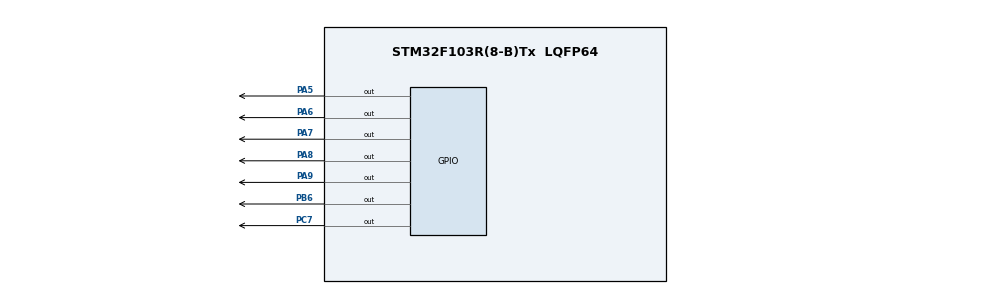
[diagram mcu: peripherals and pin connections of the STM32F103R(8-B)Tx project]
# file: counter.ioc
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Mcu.Family=STM32F1
Mcu.Name=STM32F103R(8-B)Tx
Mcu.Package=LQFP64
NVIC.PriorityGroup=NVIC_PRIORITYGROUP_4
PA5.Signal=GPIO_Output
PA6.Signal=GPIO_Output
PA7.Signal=GPIO_Output
PA8.Signal=GPIO_Output
PA9.Signal=GPIO_Output
PB6.Signal=GPIO_Output
PC7.Signal=GPIO_Output
ProjectManager.HeapSize=0x200
ProjectManager.StackSize=0x400
ProjectManager.TargetToolchain=STM32CubeIDE
RCC.APB1Freq_Value=8000000
RCC.APB2Freq_Value=8000000
board=custom

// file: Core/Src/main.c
/* USER CODE BEGIN Header */
/**
  ******************************************************************************
  * @file           : main.c
  * @brief          : Main program body
  ******************************************************************************
  * @attention
  *
  * Copyright (c) 2025 STMicroelectronics.
  * All rights reserved.
  *
  * This software is licensed under terms that can be found in the LICENSE file
  * in the root directory of this software component.
  * If no LICENSE file comes with this software, it is provided AS-IS.
  *
  ******************************************************************************
  */
/* USER CODE END Header */
#include "main.h"

void SystemClock_Config(void);
static void MX_GPIO_Init(void);

int main(void)
{

  /* MCU Configuration--------------------------------------------------------*/

  /* Reset of all peripherals, Initializes the Flash interface and the Systick. */
  HAL_Init();

  /* Configure the system clock */
  SystemClock_Config();

  /* Initialize all configured peripherals */
  MX_GPIO_Init();

  /* Infinite loop */
  while (1)
  {

    /* USER CODE BEGIN 3 */
	  HAL_GPIO_WritePin(GPIOA,GPIO_PIN_5,1); //----13
	  HAL_GPIO_WritePin(GPIOA,GPIO_PIN_6,1); //----12
	  HAL_GPIO_WritePin(GPIOA,GPIO_PIN_7,1); //----11
	  HAL_GPIO_WritePin(GPIOB,GPIO_PIN_6,1); //----10
	  HAL_GPIO_WritePin(GPIOC,GPIO_PIN_7,1);//------9
	  HAL_GPIO_WritePin(GPIOA,GPIO_PIN_9,1); //-----8
	  HAL_GPIO_WritePin(GPIOA,GPIO_PIN_8,0); //-----7
	  HAL_Delay(200);
	  //-------------1------------------------------
	  HAL_GPIO_WritePin(GPIOA,GPIO_PIN_5,0); //----13
	  HAL_GPIO_WritePin(GPIOA,GPIO_PIN_6,0); //----12
	  HAL_GPIO_WritePin(GPIOA,GPIO_PIN_7,1); //----11
	  HAL_GPIO_WritePin(GPIOB,GPIO_PIN_6,1); //----10
	  HAL_GPIO_WritePin(GPIOC,GPIO_PIN_7,0); //-----9
	  HAL_GPIO_WritePin(GPIOA,GPIO_PIN_9,0); //-----8
	  HAL_GPIO_WritePin(GPIOA,GPIO_PIN_8,0); //-----7
	  HAL_Delay(200);
	  //--------------2-----------------------------
	  HAL_GPIO_WritePin(GPIOA,GPIO_PIN_5,0); //----13
	  HAL_GPIO_WritePin(GPIOA,GPIO_PIN_6,1); //----12
	  HAL_GPIO_WritePin(GPIOA,GPIO_PIN_7,1); //----11
	  HAL_GPIO_WritePin(GPIOB,GPIO_PIN_6,0); //----10
	  HAL_GPIO_WritePin(GPIOC,GPIO_PIN_7,1); //-----9
	  HAL_GPIO_WritePin(GPIOA,GPIO_PIN_9,1); //-----8
	  HAL_GPIO_WritePin(GPIOA,GPIO_PIN_8,1); //-----7
	  HAL_Delay(200);
	  //---------------3----------------------------
	  HAL_GPIO_WritePin(GPIOA,GPIO_PIN_5,0); //----13
	  HAL_GPIO_WritePin(GPIOA,GPIO_PIN_6,1); //----12
	  HAL_GPIO_WritePin(GPIOA,GPIO_PIN_7,1); //----11
	  HAL_GPIO_WritePin(GPIOB,GPIO_PIN_6,1); //----10
	  HAL_GPIO_WritePin(GPIOC,GPIO_PIN_7,1); //-----9
	  HAL_GPIO_WritePin(GPIOA,GPIO_PIN_9,0); //-----8
	  HAL_GPIO_WritePin(GPIOA,GPIO_PIN_8,1); //-----7
	  HAL_Delay(200);
	  //---------------4----------------------------
	  HAL_GPIO_WritePin(GPIOA,GPIO_PIN_5,1); //----13
	  HAL_GPIO_WritePin(GPIOA,GPIO_PIN_6,0); //----12
	  HAL_GPIO_WritePin(GPIOA,GPIO_PIN_7,1); //----11
	  HAL_GPIO_WritePin(GPIOB,GPIO_PIN_6,1); //----10
	  HAL_GPIO_WritePin(GPIOC,GPIO_PIN_7,0); //-----9
	  HAL_GPIO_WritePin(GPIOA,GPIO_PIN_9,0); //-----8
	  HAL_GPIO_WritePin(GPIOA,GPIO_PIN_8,1); //-----7
	  HAL_Delay(200);
	  //---------------5----------------------------
	  HAL_GPIO_WritePin(GPIOA,GPIO_PIN_5,1); //----13
	  HAL_GPIO_WritePin(GPIOA,GPIO_PIN_6,1); //----12
	  HAL_GPIO_WritePin(GPIOA,GPIO_PIN_7,0); //----11
	  HAL_GPIO_WritePin(GPIOB,GPIO_PIN_6,1); //----10
	  HAL_GPIO_WritePin(GPIOC,GPIO_PIN_7,1); //-----9
	  HAL_GPIO_WritePin(GPIOA,GPIO_PIN_9,0); //-----8
	  HAL_GPIO_WritePin(GPIOA,GPIO_PIN_8,1); //-----7
	  HAL_Delay(200);
	  //---------------6----------------------------
	  HAL_GPIO_WritePin(GPIOA,GPIO_PIN_5,1); //----13
	  HAL_GPIO_WritePin(GPIOA,GPIO_PIN_6,1); //----12
	  HAL_GPIO_WritePin(GPIOA,GPIO_PIN_7,0); //----11
	  HAL_GPIO_WritePin(GPIOB,GPIO_PIN_6,1); //----10
	  HAL_GPIO_WritePin(GPIOC,GPIO_PIN_7,1); //-----9
	  HAL_GPIO_WritePin(GPIOA,GPIO_PIN_9,1); //-----8
	  HAL_GPIO_WritePin(GPIOA,GPIO_PIN_8,1); //-----7
	  HAL_Delay(200);
	  //---------------7----------------------------
	  HAL_GPIO_WritePin(GPIOA,GPIO_PIN_5,0); //----13
	  HAL_GPIO_WritePin(GPIOA,GPIO_PIN_6,1); //----12
	  HAL_GPIO_WritePin(GPIOA,GPIO_PIN_7,1); //----11
	  HAL_GPIO_WritePin(GPIOB,GPIO_PIN_6,1); //----10
	  HAL_GPIO_WritePin(GPIOC,GPIO_PIN_7,0); //-----9
	  HAL_GPIO_WritePin(GPIOA,GPIO_PIN_9,0); //-----8
	  HAL_GPIO_WritePin(GPIOA,GPIO_PIN_8,0); //-----7
	  HAL_Delay(200);
	  //---------------8----------------------------
	  HAL_GPIO_WritePin(GPIOA,GPIO_PIN_5,1); //----13
	  HAL_GPIO_WritePin(GPIOA,GPIO_PIN_6,1); //----12
	  HAL_GPIO_WritePin(GPIOA,GPIO_PIN_7,1); //----11
	  HAL_GPIO_WritePin(GPIOB,GPIO_PIN_6,1); //----10
	  HAL_GPIO_WritePin(GPIOC,GPIO_PIN_7,1); //-----9
	  HAL_GPIO_WritePin(GPIOA,GPIO_PIN_9,1); //-----8
	  HAL_GPIO_WritePin(GPIOA,GPIO_PIN_8,1); //-----7
	  HAL_Delay(200);
	  //---------------9----------------------------
	  HAL_GPIO_WritePin(GPIOA,GPIO_PIN_5,1); //----13
	  HAL_GPIO_WritePin(GPIOA,GPIO_PIN_6,1); //----12
	  HAL_GPIO_WritePin(GPIOA,GPIO_PIN_7,1); //----11
	  HAL_GPIO_WritePin(GPIOB,GPIO_PIN_6,1); //----10
	  HAL_GPIO_WritePin(GPIOC,GPIO_PIN_7,1); //-----9
	  HAL_GPIO_WritePin(GPIOA,GPIO_PIN_9,0); //-----8
	  HAL_GPIO_WritePin(GPIOA,GPIO_PIN_8,1); //-----7
	  HAL_Delay(200);
	  //---------------A----------------------------
	  HAL_GPIO_WritePin(GPIOA,GPIO_PIN_5,1); //----13
	  HAL_GPIO_WritePin(GPIOA,GPIO_PIN_6,1); //----12
	  HAL_GPIO_WritePin(GPIOA,GPIO_PIN_7,1); //----11
	  HAL_GPIO_WritePin(GPIOB,GPIO_PIN_6,1); //----10
	  HAL_GPIO_WritePin(GPIOC,GPIO_PIN_7,0); //-----9
	  HAL_GPIO_WritePin(GPIOA,GPIO_PIN_9,1); //-----8
	  HAL_GPIO_WritePin(GPIOA,GPIO_PIN_8,1); //-----7
	  HAL_Delay(200);
	  //---------------B----------------------------
	  HAL_GPIO_WritePin(GPIOA,GPIO_PIN_5,1); //----13
	  HAL_GPIO_WritePin(GPIOA,GPIO_PIN_6,0); //----12
	  HAL_GPIO_WritePin(GPIOA,GPIO_PIN_7,0); //----11
	  HAL_GPIO_WritePin(GPIOB,GPIO_PIN_6,1); //----10
	  HAL_GPIO_WritePin(GPIOC,GPIO_PIN_7,1); //-----9
	  HAL_GPIO_WritePin(GPIOA,GPIO_PIN_9,1); //-----8
	  HAL_GPIO_WritePin(GPIOA,GPIO_PIN_8,1); //-----7
	  HAL_Delay(200);
	  //---------------C----------------------------
	  HAL_GPIO_WritePin(GPIOA,GPIO_PIN_5,1); //----13
	  HAL_GPIO_WritePin(GPIOA,GPIO_PIN_6,1); //----12
	  HAL_GPIO_WritePin(GPIOA,GPIO_PIN_7,0); //----11
	  HAL_GPIO_WritePin(GPIOB,GPIO_PIN_6,0); //----10
	  HAL_GPIO_WritePin(GPIOC,GPIO_PIN_7,1); //-----9
	  HAL_GPIO_WritePin(GPIOA,GPIO_PIN_9,1); //-----8
	  HAL_GPIO_WritePin(GPIOA,GPIO_PIN_8,0); //-----7
	  HAL_Delay(200);
	  //---------------D----------------------------
	  HAL_GPIO_WritePin(GPIOA,GPIO_PIN_5,0); //----13
	  HAL_GPIO_WritePin(GPIOA,GPIO_PIN_6,0); //----12
	  HAL_GPIO_WritePin(GPIOA,GPIO_PIN_7,1); //----11
	  HAL_GPIO_WritePin(GPIOB,GPIO_PIN_6,1); //----10
	  HAL_GPIO_WritePin(GPIOC,GPIO_PIN_7,1); //-----9
	  HAL_GPIO_WritePin(GPIOA,GPIO_PIN_9,1); //-----8
	  HAL_GPIO_WritePin(GPIOA,GPIO_PIN_8,1); //-----7
	  HAL_Delay(200);
	  //---------------E----------------------------
	  HAL_GPIO_WritePin(GPIOA,GPIO_PIN_5,1); //----13
	  HAL_GPIO_WritePin(GPIOA,GPIO_PIN_6,1); //----12
	  HAL_GPIO_WritePin(GPIOA,GPIO_PIN_7,0); //----11
	  HAL_GPIO_WritePin(GPIOB,GPIO_PIN_6,0); //----10
	  HAL_GPIO_WritePin(GPIOC,GPIO_PIN_7,1); //-----9
	  HAL_GPIO_WritePin(GPIOA,GPIO_PIN_9,1); //-----8
	  HAL_GPIO_WritePin(GPIOA,GPIO_PIN_8,1); //-----7
	  HAL_Delay(200);
	  //---------------F----------------------------
	  HAL_GPIO_WritePin(GPIOA,GPIO_PIN_5,1); //----13
	  HAL_GPIO_WritePin(GPIOA,GPIO_PIN_6,1); //----12
	  HAL_GPIO_WritePin(GPIOA,GPIO_PIN_7,0); //----11
	  HAL_GPIO_WritePin(GPIOB,GPIO_PIN_6,0); //----10
	  HAL_GPIO_WritePin(GPIOC,GPIO_PIN_7,0); //-----9
	  HAL_GPIO_WritePin(GPIOA,GPIO_PIN_9,1); //-----8
	  HAL_GPIO_WritePin(GPIOA,GPIO_PIN_8,1); //-----7
	  HAL_Delay(200);
  }
  /* USER CODE END 3 */
}

void SystemClock_Config(void)
{
  RCC_OscInitTypeDef RCC_OscInitStruct = {0};
  RCC_ClkInitTypeDef RCC_ClkInitStruct = {0};

  /** Initializes the RCC Oscillators according to the specified parameters
  * in the RCC_OscInitTypeDef structure.
  */
  RCC_OscInitStruct.OscillatorType = RCC_OSCILLATORTYPE_HSI;
  RCC_OscInitStruct.HSIState = RCC_HSI_ON;
  RCC_OscInitStruct.HSICalibrationValue = RCC_HSICALIBRATION_DEFAULT;
  RCC_OscInitStruct.PLL.PLLState = RCC_PLL_NONE;
  if (HAL_RCC_OscConfig(&RCC_OscInitStruct) != HAL_OK)
  {
    Error_Handler();
  }

  /** Initializes the CPU, AHB and APB buses clocks
  */
  RCC_ClkInitStruct.ClockType = RCC_CLOCKTYPE_HCLK|RCC_CLOCKTYPE_SYSCLK
                              |RCC_CLOCKTYPE_PCLK1|RCC_CLOCKTYPE_PCLK2;
  RCC_ClkInitStruct.SYSCLKSource = RCC_SYSCLKSOURCE_HSI;
  RCC_ClkInitStruct.AHBCLKDivider = RCC_SYSCLK_DIV1;
  RCC_ClkInitStruct.APB1CLKDivider = RCC_HCLK_DIV1;
  RCC_ClkInitStruct.APB2CLKDivider = RCC_HCLK_DIV1;

  if (HAL_RCC_ClockConfig(&RCC_ClkInitStruct, FLASH_LATENCY_0) != HAL_OK)
  {
    Error_Handler();
  }
}

static void MX_GPIO_Init(void)
{
  GPIO_InitTypeDef GPIO_InitStruct = {0};

  /* GPIO Ports Clock Enable */
  __HAL_RCC_GPIOA_CLK_ENABLE();
  __HAL_RCC_GPIOC_CLK_ENABLE();
  __HAL_RCC_GPIOB_CLK_ENABLE();

  /*Configure GPIO pin Output Level */
  HAL_GPIO_WritePin(GPIOA, GPIO_PIN_5|GPIO_PIN_6|GPIO_PIN_7|GPIO_PIN_8
                          |GPIO_PIN_9, GPIO_PIN_RESET);

  /*Configure GPIO pin Output Level */
  HAL_GPIO_WritePin(GPIOC, GPIO_PIN_7, GPIO_PIN_RESET);

  /*Configure GPIO pin Output Level */
  HAL_GPIO_WritePin(GPIOB, GPIO_PIN_6, GPIO_PIN_RESET);

  /*Configure GPIO pins : PA5 PA6 PA7 PA8
                           PA9 */
  GPIO_InitStruct.Pin = GPIO_PIN_5|GPIO_PIN_6|GPIO_PIN_7|GPIO_PIN_8
                          |GPIO_PIN_9;
  GPIO_InitStruct.Mode = GPIO_MODE_OUTPUT_PP;
  GPIO_InitStruct.Pull = GPIO_NOPULL;
  GPIO_InitStruct.Speed = GPIO_SPEED_FREQ_LOW;
  HAL_GPIO_Init(GPIOA, &GPIO_InitStruct);

  /*Configure GPIO pin : PC7 */
  GPIO_InitStruct.Pin = GPIO_PIN_7;
  GPIO_InitStruct.Mode = GPIO_MODE_OUTPUT_PP;
  GPIO_InitStruct.Pull = GPIO_NOPULL;
  GPIO_InitStruct.Speed = GPIO_SPEED_FREQ_LOW;
  HAL_GPIO_Init(GPIOC, &GPIO_InitStruct);

  /*Configure GPIO pin : PB6 */
  GPIO_InitStruct.Pin = GPIO_PIN_6;
  GPIO_InitStruct.Mode = GPIO_MODE_OUTPUT_PP;
  GPIO_InitStruct.Pull = GPIO_NOPULL;
  GPIO_InitStruct.Speed = GPIO_SPEED_FREQ_LOW;
  HAL_GPIO_Init(GPIOB, &GPIO_InitStruct);

}

void Error_Handler(void)
{
  __disable_irq();
  while (1)
  {
  }
}
